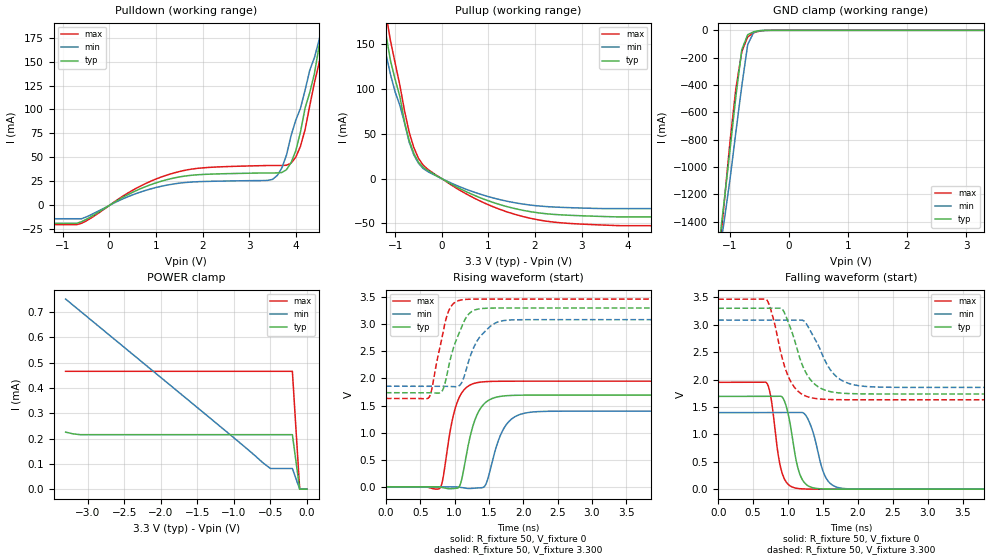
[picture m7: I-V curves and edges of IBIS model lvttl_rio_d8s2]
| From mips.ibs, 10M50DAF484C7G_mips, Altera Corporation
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|MODEL lvttl_rio_d8s2
[Model]   lvttl_rio_d8s2
Model_type   I/O
Polarity   Non-Inverting
Enable Active-Low
Vinl   = 0.800
Vinh   = 1.700
Vmeas  = 1.650
Rref   = 10M
Cref   = 0pF
Vref   = 0.000
C_comp 4.5pF   4.5pF   4.5pF
[Model Spec]
Vinh   1.700   1.700   1.700
Vinl   0.800   0.800   0.800
[Temperature Range]   25   85   0
[Voltage Range]   3.300   3.085   3.465
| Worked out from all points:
|   slope of the pulldown table from 0 to 0.495 V, typ, clamps not added: 36.4 ohm
|   slope of the pullup table from 0 to 0.495 V, typ, clamps not added: 35.8 ohm
|   GND clamp passes 1 mA (typ) near -0.44 V on its own axis
|   rising waveform, R_fixture 50, V_fixture 0: 20-80 % time 200ps typ, 224ps min, 178ps max; typ from 0 V to 1.69 V
|   falling waveform, R_fixture 50, V_fixture 0: 20-80 % time 147ps typ, 178ps min, 126ps max; typ from 1.69 V to 0 V
|   rising waveform, R_fixture 50, V_fixture 3.300: 20-80 % time 229ps typ, 265ps min, 178ps max; typ from 1.74 V to 3.3 V
|   falling waveform, R_fixture 50, V_fixture 3.300: 20-80 % time 271ps typ, 314ps min, 232ps max; typ from 3.3 V to 1.74 V
[GND Clamp]
| voltage   I (typ)   I (min)   I (max)
-3.3V     -8.619A    -7.723A    -10.11A
-1.2V     -1.623A    -1.685A    -1.728A
-1.1V     -1.258A    -1.401A    -1.271A
-1V       -874.3mA   -1.09A     -814.9mA
-900mV    -483mA     -743mA     -424.7mA
-800mV    -141mA     -406.5mA   -156.9mA
-700mV    -32.06mA   -104.1mA   -47.73mA
-600mV    -10.6mA    -15.56mA   -17.79mA
-500mV    -2.181mA   -3.118mA   -5.472mA
-400mV    -180.7uA   -399.8uA   -1.032mA
3.3V      0A         0A         0A
[Pulldown]
| voltage   I (typ)   I (min)   I (max)
-3.3V     -18.71mA   -13.96mA   -20.13mA
-700mV    -18.71mA   -13.96mA   -20.13mA
1.3V      27.6mA     21.69mA    32.61mA
3.5V      33.8mA     27.12mA    41.58mA
3.8V      37.18mA    52.4mA     41.88mA
4V        57.05mA    88.93mA    50.29mA
4.1V      76.32mA    101.2mA    61.59mA
4.3V      117.8mA    141mA      104.1mA
4.5V      166.1mA    172.5mA    148.5mA
4.6V      180.2mA    193mA      176.1mA
4.7V      199.3mA    207mA      201mA
6.5V      579.5mA    528.5mA    629mA
[Power Clamp]
| voltage   I (typ)   I (min)   I (max)
-3.3V     225.6uA    752uA      466.2uA
-3.1V     215.6uA    704.3uA    466.2uA
-500mV    215.6uA    81.77uA    466.2uA
-200mV    215.6uA    81.77uA    466.2uA
-100mV    0A         0A         0A
0V        0A         0A         0A
[Pullup]
| voltage   I (typ)   I (min)   I (max)
-3.3V     631mA      544.5mA    724.1mA
-1.4V     200mA      174.4mA    230.5mA
-1.2V     161.4mA    139.5mA    183.6mA
-1.1V     131.3mA    115.9mA    153.4mA
-900mV    91.65mA    81.78mA    104.2mA
-800mV    63.42mA    62.2mA     75.79mA
-600mV    28.16mA    26.44mA    34.63mA
-300mV    9.16mA     7.846mA    10.42mA
500mV     -13.95mA   -11.38mA   -16.3mA
1.4V      -31.19mA   -25.18mA   -37.04mA
2.4V      -39.84mA   -31.62mA   -48.44mA
6.5V      -42.64mA   -33.44mA   -52.46mA
[Ramp]
dV/dt_r   1.015e+00/2.002e-10 8.378e-01/2.245e-10 1.170e+00/1.780e-10
dV/dt_f   9.382e-01/2.705e-10 7.373e-01/3.137e-10 1.101e+00/2.323e-10
R_load = 50ohms
[Rising Waveform]
R_fixture   = 50
V_fixture   = 0
V_fixture_min = 0
V_fixture_max = 0
| time   V (typ)   V (min)   V (max)
0s        167.1nV    1.89uV     321.1nV
791.1ps   -6.068mV   48.73uV    -19.76mV
832.4ps   -18.02mV   95.28uV    158.5mV
963.1ps   -35.44mV   619.1uV    1.206V
1.073ns   13.32mV    -8.682mV   1.662V
1.314ns   1.29V      -23.64mV   1.918V
1.459ns   1.563V     53.78mV    1.941V
1.734ns   1.679V     1.11V      1.948V
2.036ns   1.691V     1.363V     1.949V
6.873ns   1.692V     1.396V     1.949V
[Falling Waveform]
R_fixture   = 50
V_fixture   = 0
V_fixture_min = 0
V_fixture_max = 0
| time   V (typ)   V (min)   V (max)
0s        1.692V     1.396V     1.949V
697.1ps   1.692V     1.396V     1.933V
758.6ps   1.692V     1.396V     1.64V
902.1ps   1.692V     1.396V     349.7mV
997.7ps   1.392V     1.396V     91.97mV
1.107ns   577.2mV    1.397V     19.9mV
1.271ns   73.55mV    1.31V      2.041mV
1.524ns   2.912mV    251.8mV    59.28uV
1.743ns   176.6uV    22.08mV    2.986uV
6.827ns   -236.9nV   2.108uV    282.1nV
[Rising Waveform]
R_fixture   = 50
V_fixture   = 3.300
V_fixture_min   = 3.085
V_fixture_max   = 3.465
| time   V (typ)   V (min)   V (max)
0s        1.736V     1.856V     1.63V
626ps     1.735V     1.856V     1.647V
667.3ps   1.734V     1.856V     1.791V
811.8ps   1.755V     1.855V     2.717V
894.3ps   2.1V       1.854V     3.176V
1.087ns   2.898V     1.888V     3.446V
1.197ns   3.174V     2.283V     3.461V
1.341ns   3.28V      2.717V     3.464V
1.706ns   3.3V       3.066V     3.465V
6.873ns   3.3V       3.085V     3.465V
[Falling Waveform]
R_fixture   = 50
V_fixture   = 3.300
V_fixture_min   = 3.085
V_fixture_max   = 3.465
| time   V (typ)   V (min)   V (max)
0s        3.3V       3.085V     3.465V
697.1ps   3.3V       3.085V     3.45V
792.7ps   3.3V       3.085V     3.094V
908.9ps   3.291V     3.085V     2.424V
1.011ns   3.017V     3.085V     2.031V
1.216ns   2.227V     3.076V     1.72V
1.339ns   1.968V     2.838V     1.665V
1.654ns   1.768V     2.1V       1.633V
2.023ns   1.739V     1.886V     1.63V
6.827ns   1.736V     1.856V     1.63V
